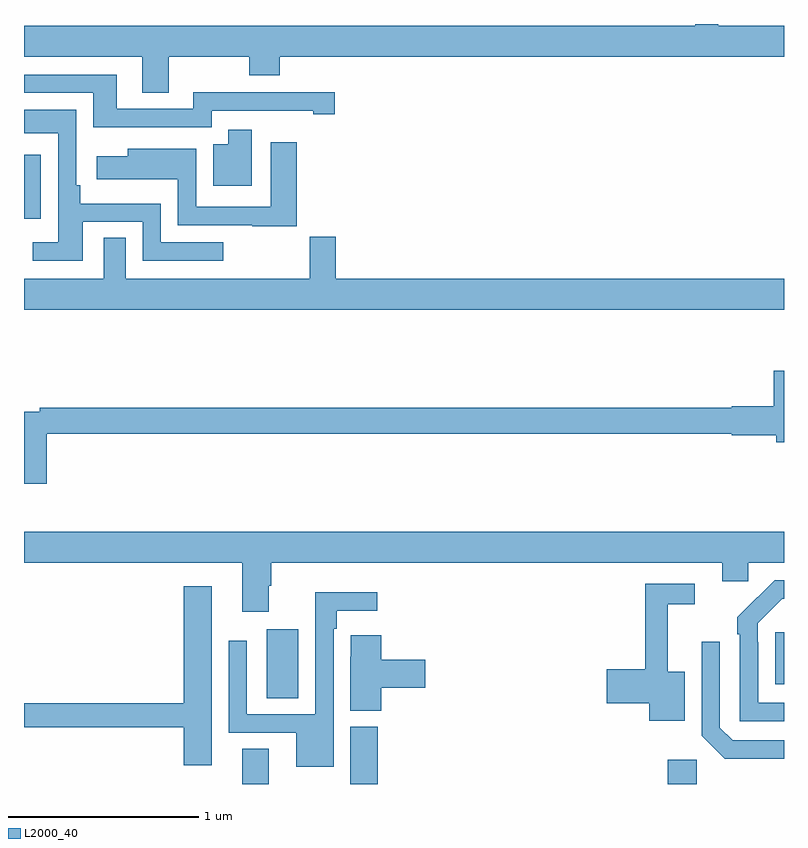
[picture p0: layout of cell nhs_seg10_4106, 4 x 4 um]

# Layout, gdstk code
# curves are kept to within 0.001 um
import gdstk
lib = gdstk.Library(unit=1e-6, precision=1e-09)
def R(c, l, rs):  # rectangles x0, y0, x1, y1
    for r in rs: c.add(gdstk.rectangle(r[:2], r[2:], *l))
def P(c, l, *ps):  # polygons
    for p in ps: c.add(gdstk.Polygon(p, *l))
L2000_40 = (2000, 40)

nhs_seg10_4106 = lib.new_cell('nhs_seg10_4106')
R(nhs_seg10_4106, L2000_40, [(340.148,1284.5,340.288,1284.686), (340.718,1284.5,340.862,1284.801), (342.389,1284.5,342.54,1284.628), (340.277,1284.952,340.444,1285.315), (342.953,1285.025,343,1285.3), (339,1287.474,339.088,1287.811)])
P(nhs_seg10_4106, L2000_40, [(339.763,1288.328),(340.186,1288.328),(340.186,1288.229),(340.346,1288.229),(340.346,1288.328),(343,1288.328),(343,1288.492),(342.655,1288.492),(342.655,1288.5),(342.534,1288.5),(342.534,1288.492),(339,1288.492),(339,1288.328),(339.623,1288.328),(339.623,1288.138),(339.763,1288.138)],
  [(339.987,1288.044),(340.294,1288.044),(340.294,1288.043),(340.523,1288.043),(340.523,1288.024),(340.636,1288.024),(340.636,1288.14),(340.097,1288.14),(340.097,1288.142),(339.891,1288.142),(339.891,1288.053),(339.487,1288.053),(339.487,1288.233),(339,1288.233),(339,1288.137),(339.365,1288.137),(339.365,1287.957),(339.987,1287.957)],
  [(339.31,1287.459),(339.624,1287.459),(339.624,1287.255),(340.048,1287.255),(340.048,1287.351),(339.72,1287.351),(339.72,1287.555),(339.296,1287.555),(339.296,1287.652),(339.276,1287.652),(339.276,1288.048),(339,1288.048),(339,1287.926),(339.18,1287.926),(339.18,1287.351),(339.045,1287.351),(339.045,1287.255),(339.31,1287.255)],
  [(340.198,1287.943),(340.076,1287.943),(340.076,1287.868),(339.995,1287.868),(339.995,1287.65),(340.198,1287.65)],
  [(340.436,1287.877),(340.298,1287.877),(340.298,1287.537),(339.906,1287.537),(339.906,1287.844),(339.545,1287.844),(339.545,1287.805),(339.384,1287.805),(339.384,1287.683),(339.81,1287.683),(339.81,1287.441),(340.202,1287.441),(340.202,1287.436),(340.436,1287.436)],
  [(343,1287.16),(340.64,1287.16),(340.64,1287.379),(340.504,1287.379),(340.504,1287.16),(339.535,1287.16),(339.535,1287.374),(339.419,1287.374),(339.419,1287.16),(339,1287.16),(339,1286.996),(343,1286.996)],
  [(339.119,1286.344),(342.726,1286.344),(342.726,1286.336),(342.959,1286.336),(342.959,1286.3),(343,1286.3),(343,1286.674),(342.947,1286.674),(342.947,1286.488),(342.726,1286.488),(342.726,1286.48),(339.082,1286.48),(339.082,1286.46),(339,1286.46),(339,1286.079),(339.119,1286.079)],
  [(340.288,1285.544),(340.301,1285.544),(340.301,1285.664),(342.674,1285.664),(342.674,1285.566),(342.813,1285.566),(342.813,1285.664),(343,1285.664),(343,1285.828),(339,1285.828),(339,1285.664),(340.148,1285.664),(340.148,1285.407),(340.288,1285.407)],
  [(343,1284.927),(342.864,1284.927),(342.864,1285.247),(342.861,1285.247),(342.861,1285.347),(342.99,1285.476),(343,1285.476),(343,1285.572),(342.95,1285.572),(342.753,1285.377),(342.753,1285.289),(342.768,1285.289),(342.768,1284.831),(343,1284.831)],
  [(342.478,1285.09),(342.389,1285.09),(342.389,1285.446),(342.529,1285.446),(342.529,1285.554),(342.271,1285.554),(342.271,1285.103),(342.066,1285.103),(342.066,1284.925),(342.29,1284.925),(342.29,1284.833),(342.478,1284.833)],
  [(339.988,1285.54),(339.842,1285.54),(339.842,1284.926),(339,1284.926),(339,1284.798),(339.842,1284.798),(339.842,1284.6),(339.988,1284.6)],
  [(340.629,1285.316),(340.645,1285.316),(340.645,1285.412),(340.858,1285.412),(340.858,1285.51),(340.533,1285.51),(340.533,1284.867),(340.173,1284.867),(340.173,1285.255),(340.077,1285.255),(340.077,1284.771),(340.433,1284.771),(340.433,1284.59),(340.629,1284.59)],
  [(340.88,1285.007),(341.113,1285.007),(341.113,1285.154),(340.88,1285.154),(340.88,1285.282),(340.719,1285.282),(340.719,1285.169),(340.718,1285.169),(340.718,1284.886),(340.88,1284.886)],
  [(343,1284.729),(342.729,1284.729),(342.663,1284.795),(342.663,1285.249),(342.567,1285.249),(342.567,1284.753),(342.688,1284.632),(343,1284.632)])

lib.write_gds('nhs_seg10_4106.gds')
